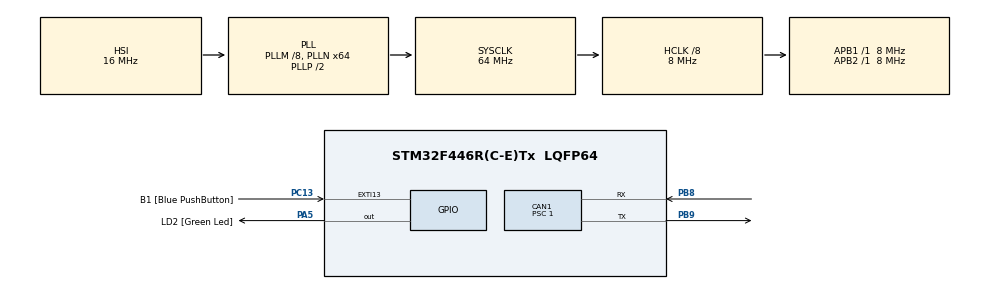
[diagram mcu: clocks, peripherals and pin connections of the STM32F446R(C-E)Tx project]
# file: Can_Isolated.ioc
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CAN1.BS1=CAN_BS1_8TQ
CAN1.BS2=CAN_BS2_7TQ
CAN1.CalculateTimeBit=2000
CAN1.CalculateTimeQuantum=125.0
CAN1.Prescaler=1
Mcu.Family=STM32F4
Mcu.Name=STM32F446R(C-E)Tx
Mcu.Package=LQFP64
NVIC.CAN1_RX0_IRQn=true\:0\:0\:false\:false\:true
NVIC.PriorityGroup=NVIC_PRIORITYGROUP_0
PA13.GPIO_Label=TMS
PA13.Signal=SYS_JTMS-SWDIO
PA14.GPIO_Label=TCK
PA14.Signal=SYS_JTCK-SWCLK
PA2.GPIO_Label=USART_TX
PA2.Signal=USART2_TX
PA3.GPIO_Label=USART_RX
PA3.Signal=USART2_RX
PA5.GPIO_Label=LD2 [Green Led]
PA5.Signal=GPIO_Output
PB3.GPIO_Label=SWO
PB3.Signal=SYS_JTDO-SWO
PB8.Mode=Master
PB8.Signal=CAN1_RX
PB9.Mode=Master
PB9.Signal=CAN1_TX
PC13.GPIO_Label=B1 [Blue PushButton]
PC13.GPIO_ModeDefaultEXTI=GPIO_MODE_IT_FALLING
PC13.Signal=GPXTI13
PC14-OSC32_IN.Signal=RCC_OSC32_IN
PC15-OSC32_OUT.Signal=RCC_OSC32_OUT
PH0-OSC_IN.Signal=RCC_OSC_IN
PH1-OSC_OUT.Signal=RCC_OSC_OUT
ProjectManager.HeapSize=0x200
ProjectManager.StackSize=0x400
ProjectManager.TargetToolchain=SW4STM32
RCC.AHBCLKDivider=RCC_SYSCLK_DIV8
RCC.AHBFreq_Value=8000000
RCC.APB1Freq_Value=8000000
RCC.APB1TimFreq_Value=8000000
RCC.APB2Freq_Value=8000000
RCC.APB2TimFreq_Value=8000000
RCC.CortexFreq_Value=8000000
RCC.FLatency-AdvancedSettings=FLASH_LATENCY_0
RCC.HCLKFreq_Value=8000000
RCC.HSE_VALUE=8000000
RCC.HSI_VALUE=16000000
RCC.LSE_VALUE=32768
RCC.PLLM=8
RCC.PLLN=64
RCC.SYSCLKFreq_VALUE=64000000
RCC.SYSCLKSource=RCC_SYSCLKSOURCE_PLLCLK
RCC.USBFreq_Value=64000000
RCC.VCOOutputFreq_Value=128000000
board=NUCLEO-F446RE

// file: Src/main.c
/**
  ******************************************************************************
  * File Name          : main.c
  * Description        : Main program body
  ******************************************************************************
  ** This notice applies to any and all portions of this file
  * that are not between comment pairs USER CODE BEGIN and
  * USER CODE END. Other portions of this file, whether
  * inserted by the user or by software development tools
  * are owned by their respective copyright owners.
  *
  * COPYRIGHT(c) 2017 STMicroelectronics
  *
  * Redistribution and use in source and binary forms, with or without modification,
  * are permitted provided that the following conditions are met:
  *   1. Redistributions of source code must retain the above copyright notice,
  *      this list of conditions and the following disclaimer.
  *   2. Redistributions in binary form must reproduce the above copyright notice,
  *      this list of conditions and the following disclaimer in the documentation
  *      and/or other materials provided with the distribution.
  *   3. Neither the name of STMicroelectronics nor the names of its contributors
  *      may be used to endorse or promote products derived from this software
  *      without specific prior written permission.
  *
  * THIS SOFTWARE IS PROVIDED BY THE COPYRIGHT HOLDERS AND CONTRIBUTORS "AS IS"
  * AND ANY EXPRESS OR IMPLIED WARRANTIES, INCLUDING, BUT NOT LIMITED TO, THE
  * IMPLIED WARRANTIES OF MERCHANTABILITY AND FITNESS FOR A PARTICULAR PURPOSE ARE
  * DISCLAIMED. IN NO EVENT SHALL THE COPYRIGHT HOLDER OR CONTRIBUTORS BE LIABLE
  * FOR ANY DIRECT, INDIRECT, INCIDENTAL, SPECIAL, EXEMPLARY, OR CONSEQUENTIAL
  * DAMAGES (INCLUDING, BUT NOT LIMITED TO, PROCUREMENT OF SUBSTITUTE GOODS OR
  * SERVICES; LOSS OF USE, DATA, OR PROFITS; OR BUSINESS INTERRUPTION) HOWEVER
  * CAUSED AND ON ANY THEORY OF LIABILITY, WHETHER IN CONTRACT, STRICT LIABILITY,
  * OR TORT (INCLUDING NEGLIGENCE OR OTHERWISE) ARISING IN ANY WAY OUT OF THE USE
  * OF THIS SOFTWARE, EVEN IF ADVISED OF THE POSSIBILITY OF SUCH DAMAGE.
  *
  ******************************************************************************
  */
#include "main.h"
#include "stm32f4xx_hal.h"

CAN_HandleTypeDef hcan1;

/* USER CODE BEGIN PV */
/* Private variables ---------------------------------------------------------*/

/* USER CODE END PV */

void SystemClock_Config(void);
static void MX_GPIO_Init(void);
static void MX_CAN1_Init(void);

/* USER CODE BEGIN PFP */
/* Private function prototypes -----------------------------------------------*/
void CAN_Transmit(void);
void CAN_Recieve_Start(void);
/* USER CODE END PFP */

/* USER CODE BEGIN 0 */
int temp = 0;
/* USER CODE END 0 */

int main(void)
{

  /* MCU Configuration----------------------------------------------------------*/

  /* Reset of all peripherals, Initializes the Flash interface and the Systick. */
  HAL_Init();

  /* Configure the system clock */
  SystemClock_Config();

  /* Initialize all configured peripherals */
  MX_GPIO_Init();
  MX_CAN1_Init();

  /* USER CODE BEGIN 2 */
  // CAN_Recieve_Start();
  /* USER CODE END 2 */

  /* Infinite loop */
  while (1)
  {

  /* USER CODE BEGIN 3 */
	  HAL_GPIO_TogglePin(LD2_GPIO_Port, LD2_Pin);
	  CAN_Transmit();
	  HAL_Delay(1000);
  }
  /* USER CODE END 3 */

}

/** System Clock Configuration
*/
void SystemClock_Config(void)
{

  RCC_OscInitTypeDef RCC_OscInitStruct;
  RCC_ClkInitTypeDef RCC_ClkInitStruct;

    /**Configure the main internal regulator output voltage
    */
  __HAL_RCC_PWR_CLK_ENABLE();

  __HAL_PWR_VOLTAGESCALING_CONFIG(PWR_REGULATOR_VOLTAGE_SCALE3);

    /**Initializes the CPU, AHB and APB busses clocks
    */
  RCC_OscInitStruct.OscillatorType = RCC_OSCILLATORTYPE_HSI;
  RCC_OscInitStruct.HSIState = RCC_HSI_ON;
  RCC_OscInitStruct.HSICalibrationValue = 16;
  RCC_OscInitStruct.PLL.PLLState = RCC_PLL_ON;
  RCC_OscInitStruct.PLL.PLLSource = RCC_PLLSOURCE_HSI;
  RCC_OscInitStruct.PLL.PLLM = 8;
  RCC_OscInitStruct.PLL.PLLN = 64;
  RCC_OscInitStruct.PLL.PLLP = RCC_PLLP_DIV2;
  RCC_OscInitStruct.PLL.PLLQ = 2;
  RCC_OscInitStruct.PLL.PLLR = 2;
  if (HAL_RCC_OscConfig(&RCC_OscInitStruct) != HAL_OK)
  {
    _Error_Handler(__FILE__, __LINE__);
  }

    /**Initializes the CPU, AHB and APB busses clocks
    */
  RCC_ClkInitStruct.ClockType = RCC_CLOCKTYPE_HCLK|RCC_CLOCKTYPE_SYSCLK
                              |RCC_CLOCKTYPE_PCLK1|RCC_CLOCKTYPE_PCLK2;
  RCC_ClkInitStruct.SYSCLKSource = RCC_SYSCLKSOURCE_PLLCLK;
  RCC_ClkInitStruct.AHBCLKDivider = RCC_SYSCLK_DIV8;
  RCC_ClkInitStruct.APB1CLKDivider = RCC_HCLK_DIV1;
  RCC_ClkInitStruct.APB2CLKDivider = RCC_HCLK_DIV1;

  if (HAL_RCC_ClockConfig(&RCC_ClkInitStruct, FLASH_LATENCY_0) != HAL_OK)
  {
    _Error_Handler(__FILE__, __LINE__);
  }

    /**Configure the Systick interrupt time
    */
  HAL_SYSTICK_Config(HAL_RCC_GetHCLKFreq()/1000);

    /**Configure the Systick
    */
  HAL_SYSTICK_CLKSourceConfig(SYSTICK_CLKSOURCE_HCLK);

  /* SysTick_IRQn interrupt configuration */
  HAL_NVIC_SetPriority(SysTick_IRQn, 0, 0);
}

/* CAN1 init function */
static void MX_CAN1_Init(void)
{

  hcan1.Instance = CAN1;
  hcan1.Init.Prescaler = 1;
  hcan1.Init.Mode = CAN_MODE_NORMAL;
  hcan1.Init.SJW = CAN_SJW_1TQ;
  hcan1.Init.BS1 = CAN_BS1_8TQ;
  hcan1.Init.BS2 = CAN_BS2_7TQ;
  hcan1.Init.TTCM = DISABLE;
  hcan1.Init.ABOM = DISABLE;
  hcan1.Init.AWUM = DISABLE;
  hcan1.Init.NART = DISABLE;
  hcan1.Init.RFLM = DISABLE;
  hcan1.Init.TXFP = DISABLE;
  if (HAL_CAN_Init(&hcan1) != HAL_OK)
  {
    _Error_Handler(__FILE__, __LINE__);
  }

}

/** Configure pins as
        * Analog
        * Input
        * Output
        * EVENT_OUT
        * EXTI
     PA2   ------> USART2_TX
     PA3   ------> USART2_RX
*/
static void MX_GPIO_Init(void)
{

  GPIO_InitTypeDef GPIO_InitStruct;

  /* GPIO Ports Clock Enable */
  __HAL_RCC_GPIOC_CLK_ENABLE();
  __HAL_RCC_GPIOH_CLK_ENABLE();
  __HAL_RCC_GPIOA_CLK_ENABLE();
  __HAL_RCC_GPIOB_CLK_ENABLE();

  /*Configure GPIO pin Output Level */
  HAL_GPIO_WritePin(LD2_GPIO_Port, LD2_Pin, GPIO_PIN_RESET);

  /*Configure GPIO pin : B1_Pin */
  GPIO_InitStruct.Pin = B1_Pin;
  GPIO_InitStruct.Mode = GPIO_MODE_IT_FALLING;
  GPIO_InitStruct.Pull = GPIO_NOPULL;
  HAL_GPIO_Init(B1_GPIO_Port, &GPIO_InitStruct);

  /*Configure GPIO pins : USART_TX_Pin USART_RX_Pin */
  GPIO_InitStruct.Pin = USART_TX_Pin|USART_RX_Pin;
  GPIO_InitStruct.Mode = GPIO_MODE_AF_PP;
  GPIO_InitStruct.Pull = GPIO_NOPULL;
  GPIO_InitStruct.Speed = GPIO_SPEED_FREQ_VERY_HIGH;
  GPIO_InitStruct.Alternate = GPIO_AF7_USART2;
  HAL_GPIO_Init(GPIOA, &GPIO_InitStruct);

  /*Configure GPIO pin : LD2_Pin */
  GPIO_InitStruct.Pin = LD2_Pin;
  GPIO_InitStruct.Mode = GPIO_MODE_OUTPUT_PP;
  GPIO_InitStruct.Pull = GPIO_NOPULL;
  GPIO_InitStruct.Speed = GPIO_SPEED_FREQ_LOW;
  HAL_GPIO_Init(LD2_GPIO_Port, &GPIO_InitStruct);

}

/* USER CODE BEGIN 4 */

void CAN_Transmit(void)
{
	static uint8_t flag = 0;
	CanTxMsgTypeDef TxMsg;
	HAL_CAN_StateTypeDef status;

	hcan1.pTxMsg = &TxMsg;
	hcan1.pTxMsg->RTR = CAN_RTR_DATA;
	hcan1.pTxMsg->IDE = CAN_ID_STD;
	hcan1.pTxMsg->DLC = 2;

	if (flag == 0) {
		hcan1.pTxMsg->StdId = 0x500;
		hcan1.pTxMsg->Data[0] = 0xCA;
		hcan1.pTxMsg->Data[1] = 0xFE;
		flag = 1;
	} else {
		hcan1.pTxMsg->StdId = 0x501;
		hcan1.pTxMsg->Data[0] = 0xFA;
		hcan1.pTxMsg->Data[1] = 0xCE;
		flag = 0;
	}

	status = HAL_CAN_Transmit(&hcan1, 100);
}

void CAN_Recieve_Start(void) {
	CAN_FilterConfTypeDef sFilterConfig;
	static CanRxMsgTypeDef RxMessage;

	hcan1.pRxMsg = &RxMessage;

	/*##-2- Configure the CAN Filter ###########################################*/
	sFilterConfig.FilterNumber = 0;
	sFilterConfig.FilterMode = CAN_FILTERMODE_IDMASK;
	sFilterConfig.FilterScale = CAN_FILTERSCALE_32BIT;
	sFilterConfig.FilterIdHigh = 0x0000;
	sFilterConfig.FilterIdLow = 0x0000;
	sFilterConfig.FilterMaskIdHigh = 0x0000;
	sFilterConfig.FilterMaskIdLow = 0x0000;
	sFilterConfig.FilterFIFOAssignment = 0;
	sFilterConfig.FilterActivation = ENABLE;
	sFilterConfig.BankNumber = 14;

	if(HAL_CAN_ConfigFilter(&hcan1, &sFilterConfig) != HAL_OK)
	{
	/* Filter configuration Error */
	Error_Handler();
	}

	if (HAL_CAN_Receive_IT(&hcan1, CAN_FIFO0) != HAL_OK) {
		/* Reception Error */
		Error_Handler();
	}
}

void HAL_CAN_RxCpltCallback(CAN_HandleTypeDef* CanHandle) {
	if ((CanHandle->pRxMsg->StdId == 0x500)
			&& (CanHandle->pRxMsg->IDE == CAN_ID_STD)
			&& (CanHandle->pRxMsg->DLC == 2)) {
		temp = CanHandle->pRxMsg->Data[0];
	}

	/* Receive */
	if (HAL_CAN_Receive_IT(CanHandle, CAN_FIFO0) != HAL_OK) {
		/* Reception Error */
		Error_Handler();
	}
}

/* USER CODE END 4 */

void _Error_Handler(char * file, int line)
{
  while(1)
  {
  }
}

/************************ (C) COPYRIGHT STMicroelectronics *****END OF FILE****/
